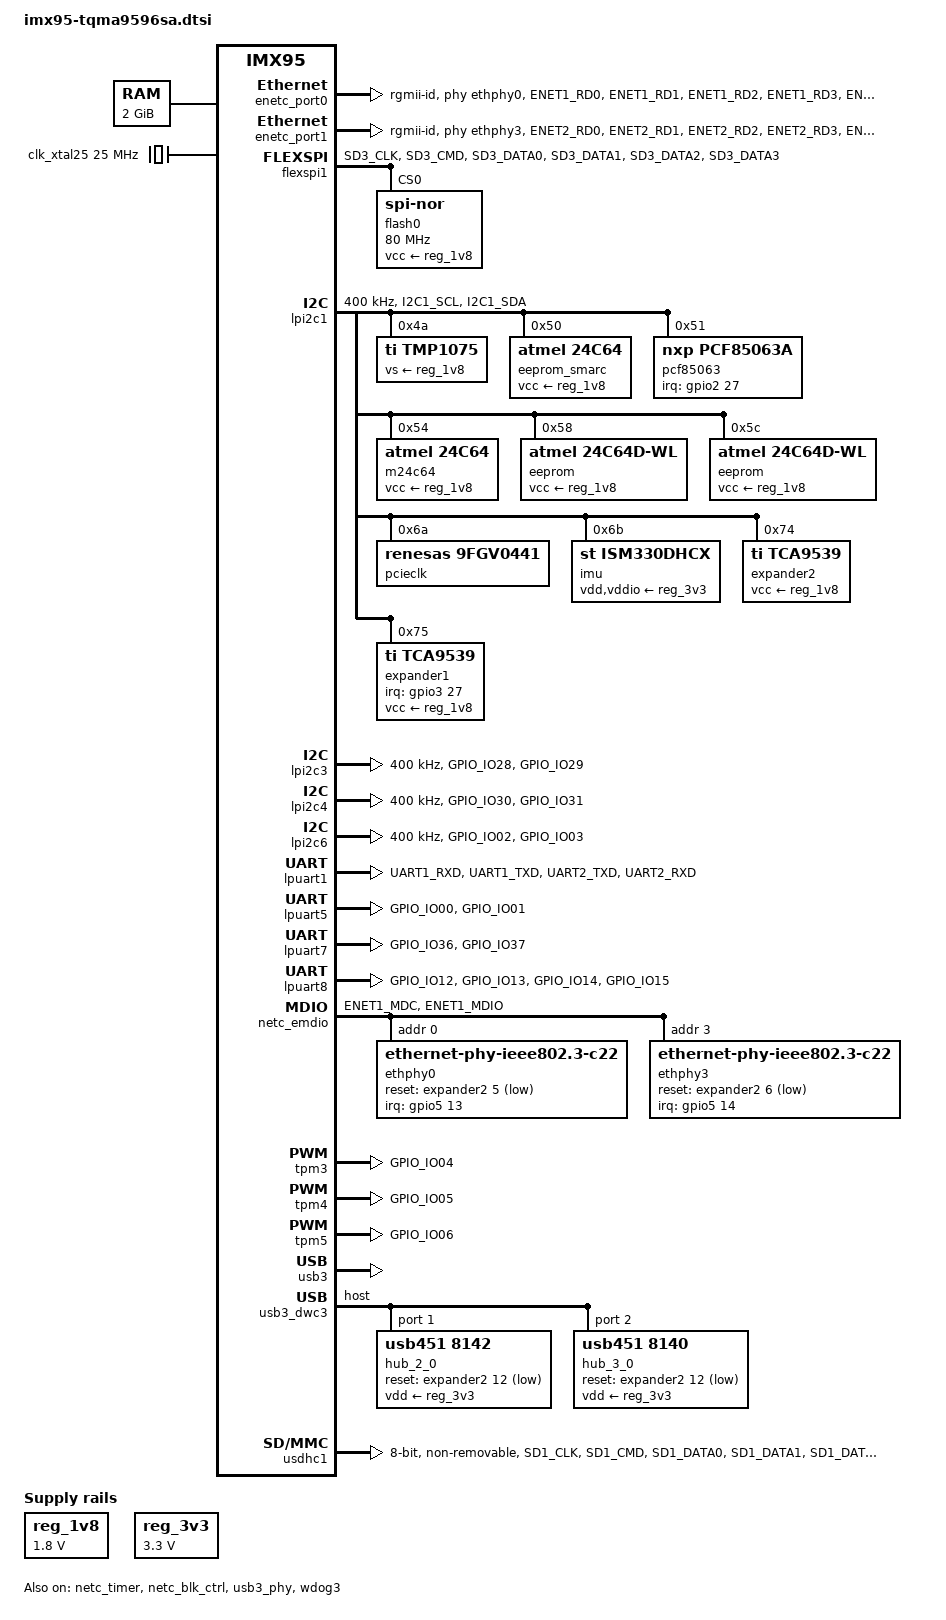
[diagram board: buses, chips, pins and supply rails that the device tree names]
// SPDX-License-Identifier: (GPL-2.0-or-later OR MIT)
/*
 * Copyright (c) 2024 TQ-Systems GmbH <linux@ew.tq-group.com>,
 * D-82229 Seefeld, Germany.
 * Author: Alexander Stein
 */

/dts-v1/;

#include <dt-bindings/net/ti-dp83867.h>
#include <dt-bindings/phy/phy-imx8-pcie.h>
#include <dt-bindings/usb/pd.h>
#include "imx95.dtsi"

/ {
	aliases {
		ethernet0 = &enetc_port0;
		ethernet1 = &enetc_port1;
	};

	memory@80000000 {
		device_type = "memory";
		/*
		 * DRAM base addr, size : 2048 MiB DRAM
		 * should be corrected by bootloader
		 */
		reg = <0 0x80000000 0 0x80000000>;
	};

	reserved-memory {
		#address-cells = <2>;
		#size-cells = <2>;
		ranges;

		linux_cma: linux,cma {
			compatible = "shared-dma-pool";
			reusable;
			size = <0 0x28000000>;
			alloc-ranges = <0 0x80000000 0 0x80000000>;
			linux,cma-default;
		};

		vpu_boot: vpu_boot@a0000000 {
			reg = <0 0xa0000000 0 0x100000>;
			no-map;
		};
	};

	clk_dp: clk-dp {
		compatible = "fixed-clock";
		#clock-cells = <0>;
		clock-frequency = <26000000>;
	};

	clk_xtal25: clk-xtal25 {
		compatible = "fixed-clock";
		#clock-cells = <0>;
		clock-frequency = <25000000>;
	};

	reg_1v8: regulator-1v8 {
		compatible = "regulator-fixed";
		regulator-name = "V_1V8";
		regulator-min-microvolt = <1800000>;
		regulator-max-microvolt = <1800000>;
		regulator-always-on;
	};

	reg_3v3: regulator-3v3 {
		compatible = "regulator-fixed";
		regulator-name = "V_3V3";
		regulator-min-microvolt = <3300000>;
		regulator-max-microvolt = <3300000>;
		regulator-always-on;
	};

	/* Controlled by system manager */
	reg_sdvmmc: regulator-sdvmmc {
		compatible = "regulator-fixed";
		pinctrl-names = "default";
		pinctrl-0 = <&pinctrl_sdvmmc>;
		regulator-name = "SDIO_PWR_EN";
		regulator-min-microvolt = <3300000>;
		regulator-max-microvolt = <3300000>;
		gpio = <&gpio3 7 GPIO_ACTIVE_HIGH>;
		enable-active-high;
		status = "disabled";
	};
};

&enetc_port0 {
	pinctrl-names = "default";
	pinctrl-0 = <&pinctrl_enetc0>;
	phy-handle = <&ethphy0>;
	phy-mode = "rgmii-id";
};

&enetc_port1 {
	pinctrl-names = "default";
	pinctrl-0 = <&pinctrl_enetc1>;
	phy-handle = <&ethphy3>;
	phy-mode = "rgmii-id";
};

&netc_timer {
	status = "okay";
};

&flexspi1 {
	pinctrl-names = "default", "sleep";
	pinctrl-0 = <&pinctrl_flexspi1>;
	pinctrl-1 = <&pinctrl_flexspi1>;
	status = "okay";

	flash0: flash@0 {
		compatible = "jedec,spi-nor";
		reg = <0>;
		spi-max-frequency = <80000000>;
		spi-tx-bus-width = <4>;
		spi-rx-bus-width = <4>;
		vcc-supply = <&reg_1v8>;

		partitions {
			compatible = "fixed-partitions";
			#address-cells = <1>;
			#size-cells = <1>;
		};
	};
};

&gpio1 {
	pinctrl-names = "default";
	pinctrl-0 = <&pinctrl_gpio1>;
	gpio-line-names = "", "", "", "",
			  "", "", "", "",
			  "", "", "GPIO7", "GPIO8",
			  "", "GPIO9", "", "",
			  "", "", "", "",
			  "", "", "", "",
			  "", "", "", "",
			  "", "", "", "";
};

&gpio2 {
	pinctrl-names = "default";
	pinctrl-0 = <&pinctrl_gpio2>;
	gpio-line-names = "", "", "", "",
			  "", "", "", "",
			  "", "", "", "",
			  "", "", "", "",
			  "", "", "SLEEP", "GPIO5",
			  "", "", "GPIO6", "",
			  "", "", "", "",
			  "", "", "", "";
};

&lpi2c1 {
	clock-frequency = <400000>;
	pinctrl-names = "default", "sleep";
	pinctrl-0 = <&pinctrl_lpi2c1>;
	pinctrl-1 = <&pinctrl_lpi2c1>;
	status = "okay";

	tmp1075: temperature-sensor@4a {
		compatible = "ti,tmp1075";
		reg = <0x4a>;
		vs-supply = <&reg_1v8>;
	};

	eeprom_smarc: eeprom@50 {
		compatible = "atmel,24c64";
		reg = <0x50>;
		pagesize = <32>;
		vcc-supply = <&reg_1v8>;
	};

	pcf85063: rtc@51 {
		compatible = "nxp,pcf85063a";
		reg = <0x51>;
		quartz-load-femtofarads = <7000>;
		pinctrl-names = "default";
		pinctrl-0 = <&pinctrl_pcf85063>;
		interrupt-parent = <&gpio2>;
		interrupts = <27 IRQ_TYPE_EDGE_FALLING>;
	};

	m24c64: eeprom@54 {
		compatible = "atmel,24c64";
		reg = <0x54>;
		pagesize = <32>;
		vcc-supply = <&reg_1v8>;
	};

	/* protectable identification memory (part of M24C64-D @50) */
	eeprom@58 {
		compatible = "atmel,24c64d-wl";
		reg = <0x58>;
		vcc-supply = <&reg_1v8>;
	};

	/* protectable identification memory (part of M24C64-D @54) */
	eeprom@5c {
		compatible = "atmel,24c64d-wl";
		reg = <0x5c>;
		vcc-supply = <&reg_1v8>;
	};

	pcieclk: clock-generator@6a {
		compatible = "renesas,9fgv0441";
		reg = <0x6a>;
		clocks = <&clk_xtal25>;
		#clock-cells = <1>;
	};

	imu@6b {
		compatible = "st,ism330dhcx";
		reg = <0x6b>;
		vdd-supply = <&reg_3v3>;
		vddio-supply = <&reg_3v3>;
	};

	/* D23 */
	expander2: gpio@74 {
		compatible = "ti,tca9539";
		reg = <0x74>;
		vcc-supply = <&reg_1v8>;
		gpio-controller;
		#gpio-cells = <2>;
		gpio-line-names = "GPIO4", "LCD0_BLKT_EN", "LCD0_VDD_EN", "LCD1_BLKT_EN",
				  "LCD1_VDD_EN", "ENET1_RESET#", "ENET2_RESET#", "GBE0_SDP_DIR",
				  "GBE1_SDP_DIR", "PCIE1_RST#", "PCIE2_RST#", "DP_BRIDGE_EN",
				  "HUB_RST#", "QSPI_RESET#", "PCIE1_CLK_EN", "PCIE2_CLK_EN";
	};

	/* D21 */
	expander1: gpio@75 {
		compatible = "ti,tca9539";
		reg = <0x75>;
		vcc-supply = <&reg_1v8>;
		pinctrl-names = "default";
		pinctrl-0 = <&pinctrl_expander1>;
		gpio-controller;
		#gpio-cells = <2>;
		interrupt-controller;
		#interrupt-cells = <2>;
		interrupt-parent = <&gpio3>;
		interrupts = <27 IRQ_TYPE_EDGE_FALLING>;
		gpio-line-names = "GPIO10", "GPIO11", "GPIO12", "GPIO13",
				  "CHG_PRSNT#", "CHARGING", "LID", "BATLOW#",
				  "TEMP_EVENT#", "PGOOD_ARM", "PGOOD_SOC", "PCIE_WAKE#_1V8",
				  "GPIO0", "GPIO1", "GPIO2", "GPIO3";
	};
};

/* I2C_CAM0 */
&lpi2c3 {
	clock-frequency = <400000>;
	pinctrl-names = "default", "sleep";
	pinctrl-0 = <&pinctrl_lpi2c3>;
	pinctrl-1 = <&pinctrl_lpi2c3>;
	status = "okay";

	dp_bridge: dp-bridge@f {
		compatible = "toshiba,tc9595", "toshiba,tc358767";
		reg = <0x0f>;
		pinctrl-names = "default";
		pinctrl-0 = <&pinctrl_tc9595>;
		clock-names = "ref";
		clocks = <&clk_dp>;
		reset-gpios = <&expander2 11 GPIO_ACTIVE_HIGH>;
		interrupt-parent = <&gpio2>;
		interrupts = <25 IRQ_TYPE_EDGE_RISING>;
		toshiba,hpd-pin = <0>;
		status = "disabled";

		ports {
			#address-cells = <1>;
			#size-cells = <0>;

			port@0 {
				reg = <0>;

				dp_dsi_in: endpoint {
					/* TODO: DSI out */
					data-lanes = <1 2 3 4>;
				};
			};
		};
	};
};

/* I2C_CAM1 */
&lpi2c4 {
	clock-frequency = <400000>;
	pinctrl-names = "default", "sleep";
	pinctrl-0 = <&pinctrl_lpi2c4>;
	pinctrl-1 = <&pinctrl_lpi2c4>;
	status = "okay";
};

/* I2C_LCD */
&lpi2c6 {
	clock-frequency = <400000>;
	pinctrl-names = "default", "sleep";
	pinctrl-0 = <&pinctrl_lpi2c6>;
	pinctrl-1 = <&pinctrl_lpi2c6>;
	status = "okay";
};

/* SER0 */
&lpuart1 {
	pinctrl-names = "default";
	pinctrl-0 = <&pinctrl_lpuart1>;
};

/* SER3 */
&lpuart5 {
	pinctrl-names = "default";
	pinctrl-0 = <&pinctrl_lpuart5>;
};

/* SER1 */
&lpuart7 {
	pinctrl-names = "default";
	pinctrl-0 = <&pinctrl_lpuart7>;
};

/* SER2 */
&lpuart8 {
	pinctrl-names = "default";
	pinctrl-0 = <&pinctrl_lpuart8>;
};

&netc_blk_ctrl {
	status = "okay";
};

&netc_emdio {
	pinctrl-names = "default";
	pinctrl-0 = <&pinctrl_mdio>;
	status = "okay";

	ethphy0: ethernet-phy@0 {
		compatible = "ethernet-phy-ieee802.3-c22";
		reg = <0>;
		pinctrl-names = "default";
		pinctrl-0 = <&pinctrl_ethphy0>;
		reset-gpios = <&expander2 5 GPIO_ACTIVE_LOW>;
		reset-assert-us = <500000>;
		reset-deassert-us = <50000>;
		interrupt-parent = <&gpio5>;
		interrupts = <13 IRQ_TYPE_LEVEL_LOW>;
		ti,rx-internal-delay = <DP83867_RGMIIDCTL_2_50_NS>;
		ti,tx-internal-delay = <DP83867_RGMIIDCTL_2_50_NS>;
		ti,fifo-depth = <DP83867_PHYCR_FIFO_DEPTH_4_B_NIB>;
		ti,dp83867-rxctrl-strap-quirk;
		ti,clk-output-sel = <DP83867_CLK_O_SEL_OFF>;
	};

	ethphy3: ethernet-phy@3 {
		compatible = "ethernet-phy-ieee802.3-c22";
		reg = <3>;
		pinctrl-names = "default";
		pinctrl-0 = <&pinctrl_ethphy3>;
		reset-gpios = <&expander2 6 GPIO_ACTIVE_LOW>;
		reset-assert-us = <500000>;
		reset-deassert-us = <50000>;
		interrupt-parent = <&gpio5>;
		interrupts = <14 IRQ_TYPE_LEVEL_LOW>;
		ti,rx-internal-delay = <DP83867_RGMIIDCTL_2_50_NS>;
		ti,tx-internal-delay = <DP83867_RGMIIDCTL_2_50_NS>;
		ti,fifo-depth = <DP83867_PHYCR_FIFO_DEPTH_4_B_NIB>;
		ti,dp83867-rxctrl-strap-quirk;
		ti,clk-output-sel = <DP83867_CLK_O_SEL_OFF>;
	};
};

&scmi_bbm {
	linux,code = <KEY_POWER>;
};

&tpm3 {
	pinctrl-names = "default";
	pinctrl-0 = <&pinctrl_tpm3>;
};

&tpm4 {
	pinctrl-names = "default";
	pinctrl-0 = <&pinctrl_tpm4>;
};

&tpm5 {
	pinctrl-names = "default";
	pinctrl-0 = <&pinctrl_tpm5>;
};

&usb3 {
	status = "okay";
};

&usb3_dwc3 {
	dr_mode = "host";
	#address-cells = <1>;
	#size-cells = <0>;

	hub_2_0: hub@1 {
		compatible = "usb451,8142";
		reg = <1>;
		peer-hub = <&hub_3_0>;
		reset-gpios = <&expander2 12 GPIO_ACTIVE_LOW>;
		vdd-supply = <&reg_3v3>;
	};

	hub_3_0: hub@2 {
		compatible = "usb451,8140";
		reg = <2>;
		peer-hub = <&hub_2_0>;
		reset-gpios = <&expander2 12 GPIO_ACTIVE_LOW>;
		vdd-supply = <&reg_3v3>;
	};
};

&usb3_phy {
	status = "okay";
};

&usdhc1 {
	pinctrl-names = "default", "state_100mhz", "state_200mhz", "sleep";
	pinctrl-0 = <&pinctrl_usdhc1>;
	pinctrl-1 = <&pinctrl_usdhc1_100mhz>;
	pinctrl-2 = <&pinctrl_usdhc1_200mhz>;
	pinctrl-3 = <&pinctrl_usdhc1>;
	bus-width = <8>;
	non-removable;
	no-sdio;
	no-sd;
	status = "okay";
};

&wdog3 {
	status = "okay";
};

&scmi_iomuxc {
	pinctrl_ethphy0: ethphy0grp {
		fsl,pins = <IMX95_PAD_GPIO_IO33__GPIO5_IO_BIT13				0x1100>;
	};

	pinctrl_ethphy3: ethphy3grp {
		fsl,pins = <IMX95_PAD_GPIO_IO34__GPIO5_IO_BIT14				0x1100>;
	};

	pinctrl_enetc0: enetc0grp {
		fsl,pins = <IMX95_PAD_ENET1_RD0__NETCMIX_TOP_ETH0_RGMII_RD0		0x1100>,
			   <IMX95_PAD_ENET1_RD1__NETCMIX_TOP_ETH0_RGMII_RD1		0x1100>,
			   <IMX95_PAD_ENET1_RD2__NETCMIX_TOP_ETH0_RGMII_RD2		0x1100>,
			   <IMX95_PAD_ENET1_RD3__NETCMIX_TOP_ETH0_RGMII_RD3		0x1100>,
			   <IMX95_PAD_ENET1_RXC__NETCMIX_TOP_ETH0_RGMII_RX_CLK		0x1100>,
			   <IMX95_PAD_ENET1_RX_CTL__NETCMIX_TOP_ETH0_RGMII_RX_CTL	0x1100>,
			   <IMX95_PAD_ENET1_TD0__NETCMIX_TOP_ETH0_RGMII_TD0		0x11e>,
			   <IMX95_PAD_ENET1_TD1__NETCMIX_TOP_ETH0_RGMII_TD1		0x11e>,
			   <IMX95_PAD_ENET1_TD2__NETCMIX_TOP_ETH0_RGMII_TD2		0x11e>,
			   <IMX95_PAD_ENET1_TD3__NETCMIX_TOP_ETH0_RGMII_TD3		0x11e>,
			   <IMX95_PAD_ENET1_TXC__NETCMIX_TOP_ETH0_RGMII_TX_CLK		0x11e>,
			   <IMX95_PAD_ENET1_TX_CTL__NETCMIX_TOP_ETH0_RGMII_TX_CTL	0x11e>,
			   <IMX95_PAD_GPIO_IO23__GPIO2_IO_BIT23				0x51e>;
	};

	pinctrl_enetc1: enetc1grp {
		fsl,pins = <IMX95_PAD_ENET2_RD0__NETCMIX_TOP_ETH1_RGMII_RD0		0x1100>,
			   <IMX95_PAD_ENET2_RD1__NETCMIX_TOP_ETH1_RGMII_RD1		0x1100>,
			   <IMX95_PAD_ENET2_RD2__NETCMIX_TOP_ETH1_RGMII_RD2		0x1100>,
			   <IMX95_PAD_ENET2_RD3__NETCMIX_TOP_ETH1_RGMII_RD3		0x1100>,
			   <IMX95_PAD_ENET2_RXC__NETCMIX_TOP_ETH1_RGMII_RX_CLK		0x1100>,
			   <IMX95_PAD_ENET2_RX_CTL__NETCMIX_TOP_ETH1_RGMII_RX_CTL	0x1100>,
			   <IMX95_PAD_ENET2_TD0__NETCMIX_TOP_ETH1_RGMII_TD0		0x11e>,
			   <IMX95_PAD_ENET2_TD1__NETCMIX_TOP_ETH1_RGMII_TD1		0x11e>,
			   <IMX95_PAD_ENET2_TD2__NETCMIX_TOP_ETH1_RGMII_TD2		0x11e>,
			   <IMX95_PAD_ENET2_TD3__NETCMIX_TOP_ETH1_RGMII_TD3		0x11e>,
			   <IMX95_PAD_ENET2_TXC__NETCMIX_TOP_ETH1_RGMII_TX_CLK		0x11e>,
			   <IMX95_PAD_ENET2_TX_CTL__NETCMIX_TOP_ETH1_RGMII_TX_CTL	0x11e>,
			   <IMX95_PAD_GPIO_IO24__GPIO2_IO_BIT24				0x51e>;
	};

	pinctrl_expander1: expander1grp {
		fsl,pins = <IMX95_PAD_CCM_CLKO2__GPIO3_IO_BIT27				0x1100>;
	};

	pinctrl_flexcan1: flexcan1grp {
		fsl,pins = <IMX95_PAD_PDM_BIT_STREAM0__AONMIX_TOP_CAN1_RX	0x1300>,
			   <IMX95_PAD_PDM_CLK__AONMIX_TOP_CAN1_TX		0x31e>;
	};

	pinctrl_flexcan3: flexcan3grp {
		fsl,pins = <IMX95_PAD_CCM_CLKO3__CAN3_TX		0x31e>,
			   <IMX95_PAD_CCM_CLKO4__CAN3_RX		0x1300>;
	};

	pinctrl_flexspi1: flexspi1grp {
		fsl,pins = <IMX95_PAD_SD3_CLK__FLEXSPI1_A_SCLK		0x11e>,
			   <IMX95_PAD_SD3_CMD__FLEXSPI1_A_SS0_B		0x11e>,
			   <IMX95_PAD_SD3_DATA0__FLEXSPI1_A_DATA_BIT0	0x11e>,
			   <IMX95_PAD_SD3_DATA1__FLEXSPI1_A_DATA_BIT1	0x11e>,
			   <IMX95_PAD_SD3_DATA2__FLEXSPI1_A_DATA_BIT2	0x11e>,
			   <IMX95_PAD_SD3_DATA3__FLEXSPI1_A_DATA_BIT3	0x11e>;
	};

	pinctrl_gpio1: gpio1grp {
		fsl,pins = <IMX95_PAD_PDM_BIT_STREAM1__AONMIX_TOP_GPIO1_IO_BIT10	0x111e>,
			   <IMX95_PAD_SAI1_TXD0__AONMIX_TOP_GPIO1_IO_BIT13		0x111e>,
			   <IMX95_PAD_SAI1_TXFS__AONMIX_TOP_GPIO1_IO_BIT11		0x111e>;
	};

	pinctrl_gpio2: gpio2grp {
		fsl,pins = <IMX95_PAD_GPIO_IO18__GPIO2_IO_BIT18		0x1100>,
			   <IMX95_PAD_GPIO_IO19__GPIO2_IO_BIT19		0x111e>,
			   <IMX95_PAD_GPIO_IO22__GPIO2_IO_BIT22		0x111e>;
	};

	pinctrl_lpi2c1: lpi2c1grp {
		fsl,pins = <IMX95_PAD_I2C1_SCL__AONMIX_TOP_LPI2C1_SCL		0x4000191e>,
			   <IMX95_PAD_I2C1_SDA__AONMIX_TOP_LPI2C1_SDA		0x4000191e>;
	};

	pinctrl_lpi2c3: lpi2c3grp {
		fsl,pins = <IMX95_PAD_GPIO_IO28__LPI2C3_SDA			0x4000191e>,
			   <IMX95_PAD_GPIO_IO29__LPI2C3_SCL			0x4000191e>;
	};

	pinctrl_lpi2c4: lpi2c4grp {
		fsl,pins = <IMX95_PAD_GPIO_IO30__LPI2C4_SDA             0x4000191e>,
			   <IMX95_PAD_GPIO_IO31__LPI2C4_SCL             0x4000191e>;
	};

	pinctrl_lpi2c6: lpi2c6grp {
		fsl,pins = <IMX95_PAD_GPIO_IO02__LPI2C6_SDA             0x4000191e>,
			   <IMX95_PAD_GPIO_IO03__LPI2C6_SCL             0x4000191e>;
	};

	pinctrl_lpspi3: lpspi3grp {
		fsl,pins = <IMX95_PAD_GPIO_IO07__GPIO2_IO_BIT7		0x51e>,
			   <IMX95_PAD_GPIO_IO08__GPIO2_IO_BIT8		0x51e>,
			   <IMX95_PAD_GPIO_IO09__LPSPI3_SIN		0x51e>,
			   <IMX95_PAD_GPIO_IO10__LPSPI3_SOUT		0x51e>,
			   <IMX95_PAD_GPIO_IO11__LPSPI3_SCK		0x51e>;
	};

	pinctrl_lpuart1: lpuart1grp {
		fsl,pins = <IMX95_PAD_UART1_RXD__AONMIX_TOP_LPUART1_RX		0x1300>,
			   <IMX95_PAD_UART1_TXD__AONMIX_TOP_LPUART1_TX		0x31e>,
			   <IMX95_PAD_UART2_TXD__AONMIX_TOP_LPUART1_RTS_B	0x1300>,
			   <IMX95_PAD_UART2_RXD__AONMIX_TOP_LPUART1_CTS_B	0x31e>;
	};

	pinctrl_lpuart5: lpuart5grp {
		fsl,pins = <IMX95_PAD_GPIO_IO00__LPUART5_TX			0x31e>,
			   <IMX95_PAD_GPIO_IO01__LPUART5_RX			0x1300>;
	};

	pinctrl_lpuart7: lpuart7grp {
		fsl,pins = <IMX95_PAD_GPIO_IO36__LPUART7_TX			0x31e>,
			   <IMX95_PAD_GPIO_IO37__LPUART7_RX			0x1300>;
	};

	pinctrl_lpuart8: lpuart8grp {
		fsl,pins = <IMX95_PAD_GPIO_IO12__LPUART8_TX			0x31e>,
			   <IMX95_PAD_GPIO_IO13__LPUART8_RX			0x1300>,
			   <IMX95_PAD_GPIO_IO14__LPUART8_CTS_B			0x31e>,
			   <IMX95_PAD_GPIO_IO15__LPUART8_RTS_B			0x1300>;
	};

	pinctrl_mdio: mdiogrp {
		fsl,pins = <IMX95_PAD_ENET1_MDC__NETCMIX_TOP_NETC_MDC		0x51e>,
			   <IMX95_PAD_ENET1_MDIO__NETCMIX_TOP_NETC_MDIO		0x51e>;
	};

	pinctrl_pcf85063: pcf85063grp {
		fsl,pins = <IMX95_PAD_GPIO_IO27__GPIO2_IO_BIT27			0x1100>;
	};

	pinctrl_pcie0: pcie0grp {
		fsl,pins = <IMX95_PAD_GPIO_IO32__HSIOMIX_TOP_PCIE1_CLKREQ_B	0x111e>;
	};

	pinctrl_pcie1: pcie1grp {
		fsl,pins = <IMX95_PAD_GPIO_IO35__HSIOMIX_TOP_PCIE2_CLKREQ_B	0x111e>;
	};

	pinctrl_sai3: sai3grp {
		fsl,pins = <IMX95_PAD_GPIO_IO16__SAI3_TX_BCLK			0x51e>,
			   <IMX95_PAD_GPIO_IO17__SAI3_MCLK			0x51e>,
			   <IMX95_PAD_GPIO_IO20__SAI3_RX_DATA_BIT0		0x1300>,
			   <IMX95_PAD_GPIO_IO21__SAI3_TX_DATA_BIT0		0x51e>,
			   <IMX95_PAD_GPIO_IO26__SAI3_TX_SYNC			0x51e>;
	};

	pinctrl_sai5: sai5grp {
		fsl,pins = <IMX95_PAD_XSPI1_DATA4__SAI5_TX_DATA_BIT0		0x51e>,
			   <IMX95_PAD_XSPI1_DATA5__SAI5_TX_SYNC			0x51e>,
			   <IMX95_PAD_XSPI1_DATA6__SAI5_TX_BCLK			0x51e>,
			   <IMX95_PAD_XSPI1_DATA7__SAI5_RX_DATA_BIT0		0x1300>;
	};

	pinctrl_sdvmmc: sdvmmcgrp {
		fsl,pins = <IMX95_PAD_SD2_RESET_B__GPIO3_IO_BIT7		0x11e>;
	};

	pinctrl_tc9595: tc9595grp {
		fsl,pins = <IMX95_PAD_GPIO_IO25__GPIO2_IO_BIT25			0x1500>;
	};

	pinctrl_tpm3: tpm3grp {
		fsl,pins = <IMX95_PAD_GPIO_IO04__TPM3_CH0			0x51e>;
	};

	pinctrl_tpm4: tpm4grp {
		fsl,pins = <IMX95_PAD_GPIO_IO05__TPM4_CH0			0x51e>;
	};

	pinctrl_tpm5: tpm4grp {
		fsl,pins = <IMX95_PAD_GPIO_IO06__TPM5_CH0			0x51e>;
	};

	pinctrl_usdhc1: usdhc1grp {
		fsl,pins = <IMX95_PAD_SD1_CLK__USDHC1_CLK	0x158e>,
			   <IMX95_PAD_SD1_CMD__USDHC1_CMD	0x138e>,
			   <IMX95_PAD_SD1_DATA0__USDHC1_DATA0	0x138e>,
			   <IMX95_PAD_SD1_DATA1__USDHC1_DATA1	0x138e>,
			   <IMX95_PAD_SD1_DATA2__USDHC1_DATA2	0x138e>,
			   <IMX95_PAD_SD1_DATA3__USDHC1_DATA3	0x138e>,
			   <IMX95_PAD_SD1_DATA4__USDHC1_DATA4	0x138e>,
			   <IMX95_PAD_SD1_DATA5__USDHC1_DATA5	0x138e>,
			   <IMX95_PAD_SD1_DATA6__USDHC1_DATA6	0x138e>,
			   <IMX95_PAD_SD1_DATA7__USDHC1_DATA7	0x138e>,
			   <IMX95_PAD_SD1_STROBE__USDHC1_STROBE	0x158e>;
	};

	pinctrl_usdhc1_100mhz: usdhc1-100mhzgrp {
		fsl,pins = <IMX95_PAD_SD1_CLK__USDHC1_CLK	0x158e>,
			   <IMX95_PAD_SD1_CMD__USDHC1_CMD	0x138e>,
			   <IMX95_PAD_SD1_DATA0__USDHC1_DATA0	0x138e>,
			   <IMX95_PAD_SD1_DATA1__USDHC1_DATA1	0x138e>,
			   <IMX95_PAD_SD1_DATA2__USDHC1_DATA2	0x138e>,
			   <IMX95_PAD_SD1_DATA3__USDHC1_DATA3	0x138e>,
			   <IMX95_PAD_SD1_DATA4__USDHC1_DATA4	0x138e>,
			   <IMX95_PAD_SD1_DATA5__USDHC1_DATA5	0x138e>,
			   <IMX95_PAD_SD1_DATA6__USDHC1_DATA6	0x138e>,
			   <IMX95_PAD_SD1_DATA7__USDHC1_DATA7	0x138e>,
			   <IMX95_PAD_SD1_STROBE__USDHC1_STROBE	0x158e>;
	};

	pinctrl_usdhc1_200mhz: usdhc1-200mhzgrp {
		fsl,pins = <IMX95_PAD_SD1_CLK__USDHC1_CLK	0x15fe>,
			   <IMX95_PAD_SD1_CMD__USDHC1_CMD	0x13fe>,
			   <IMX95_PAD_SD1_DATA0__USDHC1_DATA0	0x13fe>,
			   <IMX95_PAD_SD1_DATA1__USDHC1_DATA1	0x13fe>,
			   <IMX95_PAD_SD1_DATA2__USDHC1_DATA2	0x13fe>,
			   <IMX95_PAD_SD1_DATA3__USDHC1_DATA3	0x13fe>,
			   <IMX95_PAD_SD1_DATA4__USDHC1_DATA4	0x13fe>,
			   <IMX95_PAD_SD1_DATA5__USDHC1_DATA5	0x13fe>,
			   <IMX95_PAD_SD1_DATA6__USDHC1_DATA6	0x13fe>,
			   <IMX95_PAD_SD1_DATA7__USDHC1_DATA7	0x13fe>,
			   <IMX95_PAD_SD1_STROBE__USDHC1_STROBE	0x15fe>;
	};

	pinctrl_usdhc2: usdhc2grp {
		fsl,pins = <IMX95_PAD_SD2_CD_B__GPIO3_IO_BIT0			0x1100>,
			   <IMX95_PAD_SD2_CLK__USDHC2_CLK			0x51e>,
			   <IMX95_PAD_SD2_CMD__USDHC2_CMD			0x31e>,
			   <IMX95_PAD_SD2_DATA0__USDHC2_DATA0			0x131e>,
			   <IMX95_PAD_SD2_DATA1__USDHC2_DATA1			0x131e>,
			   <IMX95_PAD_SD2_DATA2__USDHC2_DATA2			0x131e>,
			   <IMX95_PAD_SD2_DATA3__USDHC2_DATA3			0x131e>,
			   <IMX95_PAD_SD2_VSELECT__USDHC2_VSELECT		0x51e>;
	};

	pinctrl_usdhc2_100mhz: usdhc2-100mhzgrp {
		fsl,pins = <IMX95_PAD_SD2_CD_B__GPIO3_IO_BIT0			0x1100>,
			   <IMX95_PAD_SD2_CLK__USDHC2_CLK			0x158e>,
			   <IMX95_PAD_SD2_CMD__USDHC2_CMD			0x138e>,
			   <IMX95_PAD_SD2_DATA0__USDHC2_DATA0			0x138e>,
			   <IMX95_PAD_SD2_DATA1__USDHC2_DATA1			0x138e>,
			   <IMX95_PAD_SD2_DATA2__USDHC2_DATA2			0x138e>,
			   <IMX95_PAD_SD2_DATA3__USDHC2_DATA3			0x138e>,
			   <IMX95_PAD_SD2_VSELECT__USDHC2_VSELECT		0x51e>;
	};

	pinctrl_usdhc2_200mhz: usdhc2-200mhzgrp {
		fsl,pins = <IMX95_PAD_SD2_CD_B__GPIO3_IO_BIT0			0x1100>,
			   <IMX95_PAD_SD2_CLK__USDHC2_CLK			0x15fe>,
			   <IMX95_PAD_SD2_CMD__USDHC2_CMD			0x13fe>,
			   <IMX95_PAD_SD2_DATA0__USDHC2_DATA0			0x13fe>,
			   <IMX95_PAD_SD2_DATA1__USDHC2_DATA1			0x13fe>,
			   <IMX95_PAD_SD2_DATA2__USDHC2_DATA2			0x13fe>,
			   <IMX95_PAD_SD2_DATA3__USDHC2_DATA3			0x13fe>,
			   <IMX95_PAD_SD2_VSELECT__USDHC2_VSELECT		0x51e>;
	};
};
